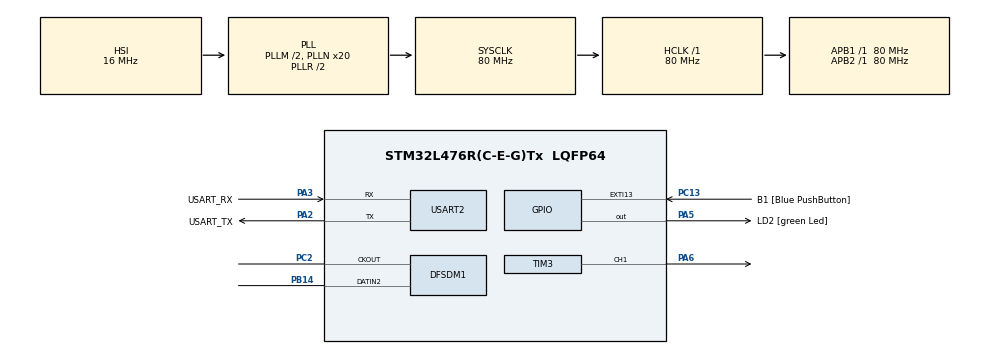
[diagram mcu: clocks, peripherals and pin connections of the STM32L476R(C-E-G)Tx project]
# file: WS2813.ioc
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DFSDM1.Divider=17
DFSDM1.DmaMode_reg_FIL0=ENABLE
DFSDM1.FastMode_reg_FIL0=ENABLE
DFSDM1.Filter_regChannel_FIL0=DFSDM_CHANNEL_2
DFSDM1.Fosr_FIL0=128
DFSDM1.Oversampling_CH2=10
DFSDM1.Selection=DFSDM_CHANNEL_OUTPUT_CLOCK_AUDIO
Dma.DFSDM1_FLT0.2.Direction=DMA_PERIPH_TO_MEMORY
Dma.DFSDM1_FLT0.2.Instance=DMA1_Channel4
Dma.DFSDM1_FLT0.2.MemDataAlignment=DMA_MDATAALIGN_WORD
Dma.DFSDM1_FLT0.2.MemInc=DMA_MINC_ENABLE
Dma.DFSDM1_FLT0.2.Mode=DMA_CIRCULAR
Dma.DFSDM1_FLT0.2.PeriphDataAlignment=DMA_PDATAALIGN_WORD
Dma.DFSDM1_FLT0.2.PeriphInc=DMA_PINC_DISABLE
Dma.DFSDM1_FLT0.2.Priority=DMA_PRIORITY_LOW
Dma.Request0=TIM3_CH4/UP
Dma.Request1=TIM3_CH1/TRIG
Dma.Request2=DFSDM1_FLT0
Dma.TIM3_CH1/TRIG.1.Direction=DMA_MEMORY_TO_PERIPH
Dma.TIM3_CH1/TRIG.1.Instance=DMA1_Channel6
Dma.TIM3_CH1/TRIG.1.MemDataAlignment=DMA_MDATAALIGN_HALFWORD
Dma.TIM3_CH1/TRIG.1.MemInc=DMA_MINC_ENABLE
Dma.TIM3_CH1/TRIG.1.Mode=DMA_NORMAL
Dma.TIM3_CH1/TRIG.1.PeriphDataAlignment=DMA_PDATAALIGN_HALFWORD
Dma.TIM3_CH1/TRIG.1.PeriphInc=DMA_PINC_DISABLE
Dma.TIM3_CH1/TRIG.1.Priority=DMA_PRIORITY_LOW
Dma.TIM3_CH4/UP.0.Direction=DMA_MEMORY_TO_PERIPH
Dma.TIM3_CH4/UP.0.Instance=DMA1_Channel3
Dma.TIM3_CH4/UP.0.MemDataAlignment=DMA_MDATAALIGN_HALFWORD
Dma.TIM3_CH4/UP.0.MemInc=DMA_MINC_ENABLE
Dma.TIM3_CH4/UP.0.Mode=DMA_NORMAL
Dma.TIM3_CH4/UP.0.PeriphDataAlignment=DMA_PDATAALIGN_HALFWORD
Dma.TIM3_CH4/UP.0.PeriphInc=DMA_PINC_DISABLE
Dma.TIM3_CH4/UP.0.Priority=DMA_PRIORITY_LOW
FREERTOS.Tasks01=defaultTask,0,128,StartDefaultTask,Default,NULL
FREERTOS.configTOTAL_HEAP_SIZE=8000
FREERTOS.configUSE_TIMERS=1
Mcu.Family=STM32L4
Mcu.Name=STM32L476R(C-E-G)Tx
Mcu.Package=LQFP64
NVIC.DMA1_Channel3_IRQn=true\:5\:0\:false\:true\:true\:1\:true\:false
NVIC.DMA1_Channel4_IRQn=true\:5\:0\:false\:true\:true\:2\:true\:false
NVIC.DMA1_Channel6_IRQn=true\:5\:0\:false\:true\:true\:3\:true\:false
NVIC.PriorityGroup=NVIC_PRIORITYGROUP_4
NVIC.TIM1_UP_TIM16_IRQn=true\:0\:0\:false\:false\:true\:false\:false
NVIC.TIM3_IRQn=true\:5\:0\:false\:false\:true\:true\:true
NVIC.TimeBase=TIM1_UP_TIM16_IRQn
NVIC.TimeBaseIP=TIM1
PA13\ (JTMS-SWDIO).GPIO_Label=TMS
PA13\ (JTMS-SWDIO).Mode=Serial_Wire
PA13\ (JTMS-SWDIO).Signal=SYS_JTMS-SWDIO
PA14\ (JTCK-SWCLK).GPIO_Label=TCK
PA14\ (JTCK-SWCLK).Mode=Serial_Wire
PA14\ (JTCK-SWCLK).Signal=SYS_JTCK-SWCLK
PA2.GPIO_Label=USART_TX
PA2.GPIO_Mode=GPIO_MODE_AF_PP
PA2.GPIO_PuPd=GPIO_NOPULL
PA2.GPIO_Speed=GPIO_SPEED_FREQ_VERY_HIGH
PA2.Mode=Asynchronous
PA2.Signal=USART2_TX
PA3.GPIO_Label=USART_RX
PA3.GPIO_Mode=GPIO_MODE_AF_PP
PA3.GPIO_PuPd=GPIO_NOPULL
PA3.GPIO_Speed=GPIO_SPEED_FREQ_VERY_HIGH
PA3.Mode=Asynchronous
PA3.Signal=USART2_RX
PA5.GPIO_Label=LD2 [green Led]
PA5.GPIO_ModeDefaultOutputPP=GPIO_MODE_OUTPUT_PP
PA5.GPIO_PuPd=GPIO_NOPULL
PA5.GPIO_Speed=GPIO_SPEED_FREQ_LOW
PA5.Signal=GPIO_Output
PA6.GPIO_Speed=GPIO_SPEED_FREQ_VERY_HIGH
PA6.Signal=S_TIM3_CH1
PB10.Signal=SPI2_SCK
PB14.Signal=S_DATAIN2DFSDM1
PB3\ (JTDO-TRACESWO).GPIO_Label=SWO
PB3\ (JTDO-TRACESWO).Signal=SYS_JTDO-SWO
PC13.GPIO_Label=B1 [Blue PushButton]
PC13.GPIO_ModeDefaultEXTI=GPIO_MODE_IT_FALLING
PC13.GPIO_PuPd=GPIO_NOPULL
PC13.Signal=GPXTI13
PC14-OSC32_IN\ (PC14).Signal=RCC_OSC32_IN
PC15-OSC32_OUT\ (PC15).Signal=RCC_OSC32_OUT
PC2.Signal=S_CKOUTDFSDM1
PH0-OSC_IN\ (PH0).Signal=RCC_OSC_IN
PH1-OSC_OUT\ (PH1).Signal=RCC_OSC_OUT
ProjectManager.HeapSize=0x200
ProjectManager.StackSize=0x400
ProjectManager.TargetToolchain=SW4STM32
RCC.ADCFreq_Value=148000000
RCC.AHBFreq_Value=80000000
RCC.APB1Freq_Value=80000000
RCC.APB1TimFreq_Value=80000000
RCC.APB2Freq_Value=80000000
RCC.APB2TimFreq_Value=80000000
RCC.CortexFreq_Value=80000000
RCC.HCLKFreq_Value=80000000
RCC.HSE_VALUE=8000000
RCC.HSI_VALUE=16000000
RCC.LSE_VALUE=32768
RCC.MSI_VALUE=4000000
RCC.PLLM=2
RCC.PLLN=20
RCC.PLLSAI1N=37
RCC.PLLSAI1P=RCC_PLLP_DIV17
RCC.PLLSourceVirtual=RCC_PLLSOURCE_HSI
RCC.PREFETCH_ENABLE=1
RCC.SYSCLKFreq_VALUE=80000000
RCC.SYSCLKSource=RCC_SYSCLKSOURCE_PLLCLK
RCC.USBFreq_Value=148000000
RCC.VCOOutputFreq_Value=160000000
SH.S_CKOUTDFSDM1.0=DFSDM1_CKOUT,PDM_SPI_input_from_ch2_and_internal_clock
SH.S_DATAIN2DFSDM1.0=DFSDM1_DATIN2,PDM_SPI_input_from_ch2_and_internal_clock
SH.S_TIM3_CH1.0=TIM3_CH1,PWM Generation1 CH1
TIM3.Channel-Output\ Compare4\ No\ Output=TIM_CHANNEL_4
TIM3.Channel-PWM\ Generation1\ CH1=TIM_CHANNEL_1
TIM3.ClockDivision=TIM_CLOCKDIVISION_DIV1
TIM3.Period=50
TIM3.Pulse-Output\ Compare4\ No\ Output=38
TIM3.TIM_MasterOutputTrigger=TIM_TRGO_RESET
USART2.VirtualMode-Asynchronous=VM_ASYNC
USART2.WordLength=WORDLENGTH_8B
VP_FREERTOS_VS_ENABLE.Mode=Enabled
VP_SYS_VS_tim1.Mode=TIM1
VP_TIM3_VS_ClockSourceINT.Mode=Internal
VP_TIM3_VS_no_output4.Mode=Output Compare4 No Output
board=NUCLEO-L476RG

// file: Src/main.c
/**
  ******************************************************************************
  * File Name          : main.c
  * Description        : Main program body
  ******************************************************************************
  * This notice applies to any and all portions of this file
  * that are not between comment pairs USER CODE BEGIN and
  * USER CODE END. Other portions of this file, whether
  * inserted by the user or by software development tools
  * are owned by their respective copyright owners.
  *
  * Copyright (c) 2017 STMicroelectronics International N.V.
  * All rights reserved.
  *
  * Redistribution and use in source and binary forms, with or without
  * modification, are permitted, provided that the following conditions are met:
  *
  * 1. Redistribution of source code must retain the above copyright notice,
  *    this list of conditions and the following disclaimer.
  * 2. Redistributions in binary form must reproduce the above copyright notice,
  *    this list of conditions and the following disclaimer in the documentation
  *    and/or other materials provided with the distribution.
  * 3. Neither the name of STMicroelectronics nor the names of other
  *    contributors to this software may be used to endorse or promote products
  *    derived from this software without specific written permission.
  * 4. This software, including modifications and/or derivative works of this
  *    software, must execute solely and exclusively on microcontroller or
  *    microprocessor devices manufactured by or for STMicroelectronics.
  * 5. Redistribution and use of this software other than as permitted under
  *    this license is void and will automatically terminate your rights under
  *    this license.
  *
  * THIS SOFTWARE IS PROVIDED BY STMICROELECTRONICS AND CONTRIBUTORS "AS IS"
  * AND ANY EXPRESS, IMPLIED OR STATUTORY WARRANTIES, INCLUDING, BUT NOT
  * LIMITED TO, THE IMPLIED WARRANTIES OF MERCHANTABILITY, FITNESS FOR A
  * PARTICULAR PURPOSE AND NON-INFRINGEMENT OF THIRD PARTY INTELLECTUAL PROPERTY
  * RIGHTS ARE DISCLAIMED TO THE FULLEST EXTENT PERMITTED BY LAW. IN NO EVENT
  * SHALL STMICROELECTRONICS OR CONTRIBUTORS BE LIABLE FOR ANY DIRECT, INDIRECT,
  * INCIDENTAL, SPECIAL, EXEMPLARY, OR CONSEQUENTIAL DAMAGES (INCLUDING, BUT NOT
  * LIMITED TO, PROCUREMENT OF SUBSTITUTE GOODS OR SERVICES; LOSS OF USE, DATA,
  * OR PROFITS; OR BUSINESS INTERRUPTION) HOWEVER CAUSED AND ON ANY THEORY OF
  * LIABILITY, WHETHER IN CONTRACT, STRICT LIABILITY, OR TORT (INCLUDING
  * NEGLIGENCE OR OTHERWISE) ARISING IN ANY WAY OUT OF THE USE OF THIS SOFTWARE,
  * EVEN IF ADVISED OF THE POSSIBILITY OF SUCH DAMAGE.
  *
  ******************************************************************************
  */

#include "main.h"
#include "stm32l4xx_hal.h"
#include "cmsis_os.h"
#include "dfsdm.h"
#include "dma.h"
#include "tim.h"
#include "usart.h"
#include "gpio.h"

/* USER CODE BEGIN PV */
/* Private variables ---------------------------------------------------------*/

/* USER CODE END PV */

void SystemClock_Config(void);
void MX_FREERTOS_Init(void);
static void MX_NVIC_Init(void);

/* USER CODE BEGIN PFP */
/* Private function prototypes -----------------------------------------------*/

/* USER CODE END PFP */

int main(void)
{

  /* MCU Configuration----------------------------------------------------------*/

  /* Reset of all peripherals, Initializes the Flash interface and the Systick. */
  HAL_Init();

  /* Configure the system clock */
  SystemClock_Config();

  /* Initialize all configured peripherals */
  MX_GPIO_Init();
  MX_DMA_Init();
  MX_USART2_UART_Init();
  MX_TIM3_Init();
  MX_DFSDM1_Init();

  /* Initialize interrupts */
  MX_NVIC_Init();

  /* Call init function for freertos objects (in freertos.c) */
  MX_FREERTOS_Init();

  /* Start scheduler */
  osKernelStart();

  /* We should never get here as control is now taken by the scheduler */

  /* Infinite loop */
  while (1)
  {

  }

}

/** System Clock Configuration
*/
void SystemClock_Config(void)
{

  RCC_OscInitTypeDef RCC_OscInitStruct;
  RCC_ClkInitTypeDef RCC_ClkInitStruct;
  RCC_PeriphCLKInitTypeDef PeriphClkInit;

    /**Initializes the CPU, AHB and APB busses clocks
    */
  RCC_OscInitStruct.OscillatorType = RCC_OSCILLATORTYPE_HSI;
  RCC_OscInitStruct.HSIState = RCC_HSI_ON;
  RCC_OscInitStruct.HSICalibrationValue = 16;
  RCC_OscInitStruct.PLL.PLLState = RCC_PLL_ON;
  RCC_OscInitStruct.PLL.PLLSource = RCC_PLLSOURCE_HSI;
  RCC_OscInitStruct.PLL.PLLM = 2;
  RCC_OscInitStruct.PLL.PLLN = 20;
  RCC_OscInitStruct.PLL.PLLP = RCC_PLLP_DIV7;
  RCC_OscInitStruct.PLL.PLLQ = RCC_PLLQ_DIV2;
  RCC_OscInitStruct.PLL.PLLR = RCC_PLLR_DIV2;
  if (HAL_RCC_OscConfig(&RCC_OscInitStruct) != HAL_OK)
  {
    _Error_Handler(__FILE__, __LINE__);
  }

    /**Initializes the CPU, AHB and APB busses clocks
    */
  RCC_ClkInitStruct.ClockType = RCC_CLOCKTYPE_HCLK|RCC_CLOCKTYPE_SYSCLK
                              |RCC_CLOCKTYPE_PCLK1|RCC_CLOCKTYPE_PCLK2;
  RCC_ClkInitStruct.SYSCLKSource = RCC_SYSCLKSOURCE_PLLCLK;
  RCC_ClkInitStruct.AHBCLKDivider = RCC_SYSCLK_DIV1;
  RCC_ClkInitStruct.APB1CLKDivider = RCC_HCLK_DIV1;
  RCC_ClkInitStruct.APB2CLKDivider = RCC_HCLK_DIV1;

  if (HAL_RCC_ClockConfig(&RCC_ClkInitStruct, FLASH_LATENCY_3) != HAL_OK)
  {
    _Error_Handler(__FILE__, __LINE__);
  }

  PeriphClkInit.PeriphClockSelection = RCC_PERIPHCLK_USART2|RCC_PERIPHCLK_SAI1
                              |RCC_PERIPHCLK_DFSDM1;
  PeriphClkInit.Usart2ClockSelection = RCC_USART2CLKSOURCE_PCLK1;
  PeriphClkInit.Sai1ClockSelection = RCC_SAI1CLKSOURCE_PLLSAI1;
  PeriphClkInit.Dfsdm1ClockSelection = RCC_DFSDM1CLKSOURCE_PCLK;
  PeriphClkInit.PLLSAI1.PLLSAI1Source = RCC_PLLSOURCE_HSI;
  PeriphClkInit.PLLSAI1.PLLSAI1M = 2;
  PeriphClkInit.PLLSAI1.PLLSAI1N = 37;
  PeriphClkInit.PLLSAI1.PLLSAI1P = RCC_PLLP_DIV17;
  PeriphClkInit.PLLSAI1.PLLSAI1Q = RCC_PLLQ_DIV2;
  PeriphClkInit.PLLSAI1.PLLSAI1R = RCC_PLLR_DIV2;
  PeriphClkInit.PLLSAI1.PLLSAI1ClockOut = RCC_PLLSAI1_SAI1CLK;
  if (HAL_RCCEx_PeriphCLKConfig(&PeriphClkInit) != HAL_OK)
  {
    _Error_Handler(__FILE__, __LINE__);
  }

    /**Configure the main internal regulator output voltage
    */
  if (HAL_PWREx_ControlVoltageScaling(PWR_REGULATOR_VOLTAGE_SCALE1) != HAL_OK)
  {
    _Error_Handler(__FILE__, __LINE__);
  }

    /**Configure the Systick interrupt time
    */
  HAL_SYSTICK_Config(HAL_RCC_GetHCLKFreq()/1000);

    /**Configure the Systick
    */
  HAL_SYSTICK_CLKSourceConfig(SYSTICK_CLKSOURCE_HCLK);

  /* SysTick_IRQn interrupt configuration */
  HAL_NVIC_SetPriority(SysTick_IRQn, 15, 0);
}

/** NVIC Configuration
*/
static void MX_NVIC_Init(void)
{
  /* DMA1_Channel3_IRQn interrupt configuration */
  HAL_NVIC_SetPriority(DMA1_Channel3_IRQn, 5, 0);
  HAL_NVIC_EnableIRQ(DMA1_Channel3_IRQn);
  /* DMA1_Channel4_IRQn interrupt configuration */
  HAL_NVIC_SetPriority(DMA1_Channel4_IRQn, 5, 0);
  HAL_NVIC_EnableIRQ(DMA1_Channel4_IRQn);
  /* DMA1_Channel6_IRQn interrupt configuration */
  HAL_NVIC_SetPriority(DMA1_Channel6_IRQn, 5, 0);
  HAL_NVIC_EnableIRQ(DMA1_Channel6_IRQn);
}

void HAL_TIM_PeriodElapsedCallback(TIM_HandleTypeDef *htim)
{
  if (htim->Instance == TIM1) {
    HAL_IncTick();
  }
}

void _Error_Handler(char * file, int line)
{
  while(1)
  {
  }
}

/************************ (C) COPYRIGHT STMicroelectronics *****END OF FILE****/

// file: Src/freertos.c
/**
  ******************************************************************************
  * File Name          : freertos.c
  * Description        : Code for freertos applications
  ******************************************************************************
  * This notice applies to any and all portions of this file
  * that are not between comment pairs USER CODE BEGIN and
  * USER CODE END. Other portions of this file, whether
  * inserted by the user or by software development tools
  * are owned by their respective copyright owners.
  *
  * Copyright (c) 2017 STMicroelectronics International N.V.
  * All rights reserved.
  *
  * Redistribution and use in source and binary forms, with or without
  * modification, are permitted, provided that the following conditions are met:
  *
  * 1. Redistribution of source code must retain the above copyright notice,
  *    this list of conditions and the following disclaimer.
  * 2. Redistributions in binary form must reproduce the above copyright notice,
  *    this list of conditions and the following disclaimer in the documentation
  *    and/or other materials provided with the distribution.
  * 3. Neither the name of STMicroelectronics nor the names of other
  *    contributors to this software may be used to endorse or promote products
  *    derived from this software without specific written permission.
  * 4. This software, including modifications and/or derivative works of this
  *    software, must execute solely and exclusively on microcontroller or
  *    microprocessor devices manufactured by or for STMicroelectronics.
  * 5. Redistribution and use of this software other than as permitted under
  *    this license is void and will automatically terminate your rights under
  *    this license.
  *
  * THIS SOFTWARE IS PROVIDED BY STMICROELECTRONICS AND CONTRIBUTORS "AS IS"
  * AND ANY EXPRESS, IMPLIED OR STATUTORY WARRANTIES, INCLUDING, BUT NOT
  * LIMITED TO, THE IMPLIED WARRANTIES OF MERCHANTABILITY, FITNESS FOR A
  * PARTICULAR PURPOSE AND NON-INFRINGEMENT OF THIRD PARTY INTELLECTUAL PROPERTY
  * RIGHTS ARE DISCLAIMED TO THE FULLEST EXTENT PERMITTED BY LAW. IN NO EVENT
  * SHALL STMICROELECTRONICS OR CONTRIBUTORS BE LIABLE FOR ANY DIRECT, INDIRECT,
  * INCIDENTAL, SPECIAL, EXEMPLARY, OR CONSEQUENTIAL DAMAGES (INCLUDING, BUT NOT
  * LIMITED TO, PROCUREMENT OF SUBSTITUTE GOODS OR SERVICES; LOSS OF USE, DATA,
  * OR PROFITS; OR BUSINESS INTERRUPTION) HOWEVER CAUSED AND ON ANY THEORY OF
  * LIABILITY, WHETHER IN CONTRACT, STRICT LIABILITY, OR TORT (INCLUDING
  * NEGLIGENCE OR OTHERWISE) ARISING IN ANY WAY OUT OF THE USE OF THIS SOFTWARE,
  * EVEN IF ADVISED OF THE POSSIBILITY OF SUCH DAMAGE.
  *
  ******************************************************************************
  */

#include "FreeRTOS.h"
#include "task.h"
#include "cmsis_os.h"

/* USER CODE BEGIN Includes */
#include "../LIBS/WS2813.h"
#include "dfsdm.h"
#include "math.h"
#include "usart.h"

//#define KARR
/* USER CODE END Includes */

osThreadId defaultTaskHandle;

/* USER CODE BEGIN Variables */
#define AudioBUFFERLEN 128
static  int32_t audioBuffer[AudioBUFFERLEN];
#define MAX_BUF_SIZE 256
static char dataOut[MAX_BUF_SIZE];
TaskHandle_t micTask;
QueueHandle_t maQueue;

/* USER CODE END Variables */

void StartDefaultTask(void const * argument);

void MX_FREERTOS_Init(void); /* (MISRA C 2004 rule 8.1) */

/* USER CODE BEGIN FunctionPrototypes */
void VmicTask(void* param);
void vLedsTimerCallback(TimerHandle_t* timer);
/* USER CODE END FunctionPrototypes */

/* Hook prototypes */

/* Init FreeRTOS */

void MX_FREERTOS_Init(void) {
  /* USER CODE BEGIN Init */
  ws2813_init_tim(&htim3, TIM_CHANNEL_1, 8);
  /* USER CODE END Init */

  /* Create the thread(s) */
  /* definition and creation of defaultTask */
  osThreadDef(defaultTask, StartDefaultTask, osPriorityNormal, 0, 128);
  defaultTaskHandle = osThreadCreate(osThread(defaultTask), NULL);

  /* USER CODE BEGIN RTOS_THREADS */
  /* add threads, ... */
  xTaskCreate(VmicTask,"MickTask",100,NULL,2,&micTask);

  /* USER CODE END RTOS_THREADS */

  /* USER CODE BEGIN RTOS_QUEUES */
  /* add queues, ... */
  maQueue = xQueueCreate(10,sizeof(int64_t));
  /* USER CODE END RTOS_QUEUES */
}

/* StartDefaultTask function */
void StartDefaultTask(void const * argument)
{

  for(;;)
  {
    osDelay(1);
  }
}

/* USER CODE BEGIN Application */

void VmicTask(void* param){

	HAL_DFSDM_FilterRegularStart_DMA(&hdfsdm1_filter0,audioBuffer,AudioBUFFERLEN);
	while(1){
		int64_t maxVal;
		if(xQueueReceiveFromISR(maQueue,&maxVal,pdMS_TO_TICKS(10))==pdTRUE){

			WS2813_COLOR color_on={.rgb={.r=0,.g=0,.b=0}};
			color_on.rgb.r=63;
			for(int i=0;i<8;i++){
				ws2813_update_led(0, color_on);
			}

			snprintf( dataOut, MAX_BUF_SIZE, "\r\n la valeur max est : %d \r\n",(int)maxVal);

				HAL_UART_Transmit(&huart2,(uint8_t*)dataOut,strlen(dataOut),5000);

				if(maxVal < 10000){
					ws2813_update_led(0, color_on);
				}else if(maxVal>10000 && maxVal<20000){
					ws2813_update_led(1, color_on);
				}else if(maxVal>20000 && maxVal<30000){
					ws2813_update_led(2, color_on);
				}else if(maxVal>30000 && maxVal<40000){
					ws2813_update_led(3, color_on);
				}else if(maxVal>40000 && maxVal<50000){
					ws2813_update_led(4, color_on);
				}else if(maxVal>50000 && maxVal<60000){
					ws2813_update_led(5, color_on);
				}else if(maxVal>60000 && maxVal<70000){
					ws2813_update_led(6, color_on);
				}else if(maxVal>70000 && maxVal<80000){
					ws2813_update_led(7, color_on);
				}

				ws2813_start_transmission_tim();
		}
	}
}

void HAL_DFSDM_FilterRegConvCpltCallback(DFSDM_Filter_HandleTypeDef *hsfsdm_filter){

	uint64_t maxVal=0;
	int index=0;
	for(index=0;index<AudioBUFFERLEN;index++){
		if(maxVal < abs(audioBuffer[index])){
			maxVal = abs(audioBuffer[index]);
		}
	}

	xQueueSendFromISR(maQueue,&maxVal,NULL);

}

/* USER CODE END Application */

/************************ (C) COPYRIGHT STMicroelectronics *****END OF FILE****/
